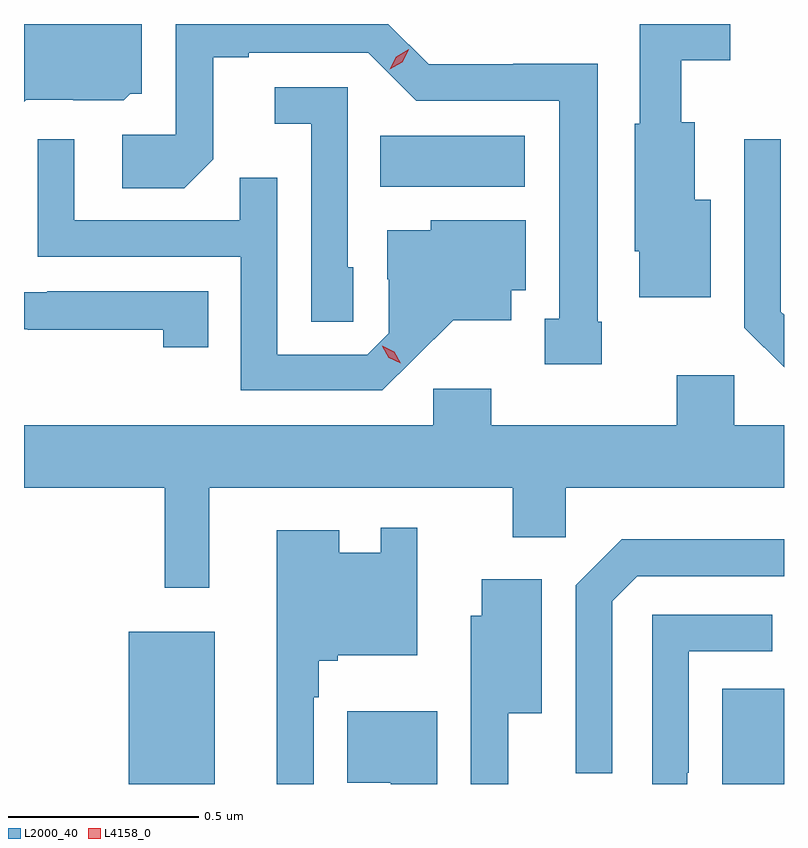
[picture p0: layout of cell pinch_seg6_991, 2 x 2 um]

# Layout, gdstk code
import gdstk
lib = gdstk.Library(unit=1e-6, precision=1e-09)
def R(c, l, rs):  # rectangles x0, y0, x1, y1
    for r in rs: c.add(gdstk.rectangle(r[:2], r[2:], *l))
def P(c, l, *ps):  # polygons
    for p in ps: c.add(gdstk.Polygon(p, *l))
L2000_40 = (2000, 40)
L4158_0 = (4158, 0)

pinch_seg6_991 = lib.new_cell('pinch_seg6_991')
R(pinch_seg6_991, L2000_40, [(328.736,923.912,328.963,924.313), (330.299,923.912,330.461,924.163), (329.398,925.484,329.779,925.618)])
P(pinch_seg6_991, L2000_40, [(329.981,925.129),(329.971,925.129),(329.971,925.808),(329.748,925.808),(329.748,925.806),(329.526,925.806),(329.42,925.912),(328.86,925.912),(328.86,925.62),(328.719,925.62),(328.719,925.48),(328.883,925.48),(328.959,925.556),(328.959,925.824),(329.053,925.824),(329.053,925.836),(329.367,925.836),(329.493,925.71),(329.87,925.71),(329.87,925.137),(329.831,925.137),(329.831,925.017),(329.981,925.017)],
  [(328.467,925.713),(328.59,925.713),(328.59,925.712),(328.724,925.712),(328.74,925.728),(328.771,925.728),(328.771,925.912),(328.461,925.912),(328.461,925.707)],
  [(330.268,925.45),(330.226,925.45),(330.226,925.654),(330.19,925.654),(330.19,925.817),(330.319,925.817),(330.319,925.912),(330.081,925.912),(330.081,925.65),(330.068,925.65),(330.068,925.314),(330.08,925.314),(330.08,925.193),(330.268,925.193)],
  [(329.328,925.272),(329.313,925.272),(329.313,925.746),(329.121,925.746),(329.121,925.649),(329.217,925.649),(329.217,925.129),(329.328,925.129)],
  [(330.461,925.147),(330.453,925.155),(330.453,925.609),(330.357,925.609),(330.357,925.113),(330.461,925.009)],
  [(329.488,925.031),(329.591,925.133),(329.743,925.133),(329.743,925.212),(329.782,925.212),(329.782,925.396),(329.532,925.396),(329.532,925.369),(329.417,925.369),(329.417,925.24),(329.421,925.24),(329.421,925.098),(329.364,925.041),(329.127,925.041),(329.127,925.508),(329.029,925.508),(329.029,925.395),(328.593,925.395),(328.593,925.609),(328.497,925.609),(328.497,925.299),(329.031,925.299),(329.031,924.948),(329.404,924.948)],
  [(328.946,925.209),(328.522,925.209),(328.522,925.206),(328.461,925.206),(328.461,925.109),(328.471,925.109),(328.471,925.108),(328.828,925.108),(328.828,925.062),(328.946,925.062)],
  [(328.949,924.692),(329.747,924.692),(329.747,924.561),(329.886,924.561),(329.886,924.692),(330.461,924.692),(330.461,924.856),(330.33,924.856),(330.33,924.988),(330.179,924.988),(330.179,924.856),(329.69,924.856),(329.69,924.952),(329.538,924.952),(329.538,924.856),(328.461,924.856),(328.461,924.692),(328.831,924.692),(328.831,924.429),(328.949,924.429)],
  [(329.223,924.14),(329.236,924.14),(329.236,924.236),(329.286,924.236),(329.286,924.251),(329.496,924.251),(329.496,924.586),(329.4,924.586),(329.4,924.52),(329.29,924.52),(329.29,924.58),(329.126,924.58),(329.126,923.912),(329.223,923.912)],
  [(330.009,924.393),(330.075,924.459),(330.461,924.459),(330.461,924.556),(330.034,924.556),(329.913,924.435),(329.913,923.94),(330.009,923.94)],
  [(329.735,924.098),(329.824,924.098),(329.824,924.451),(329.666,924.451),(329.666,924.355),(329.637,924.355),(329.637,923.912),(329.735,923.912)],
  [(330.207,923.941),(330.21,923.941),(330.21,924.261),(330.43,924.261),(330.43,924.357),(330.114,924.357),(330.114,923.912),(330.207,923.912)],
  [(329.548,924.103),(329.312,924.103),(329.312,923.915),(329.426,923.915),(329.426,923.912),(329.548,923.912)])
P(pinch_seg6_991, L4158_0, [(329.424,925.793),(329.424,925.793),(329.441,925.826),(329.473,925.845),(329.473,925.845),(329.473,925.844),(329.456,925.812),(329.424,925.793)],
  [(329.452,925.019),(329.421,925.034),(329.404,925.064),(329.404,925.065),(329.404,925.065),(329.435,925.049),(329.452,925.019),(329.452,925.019)])

lib.write_gds('pinch_seg6_991.gds')
